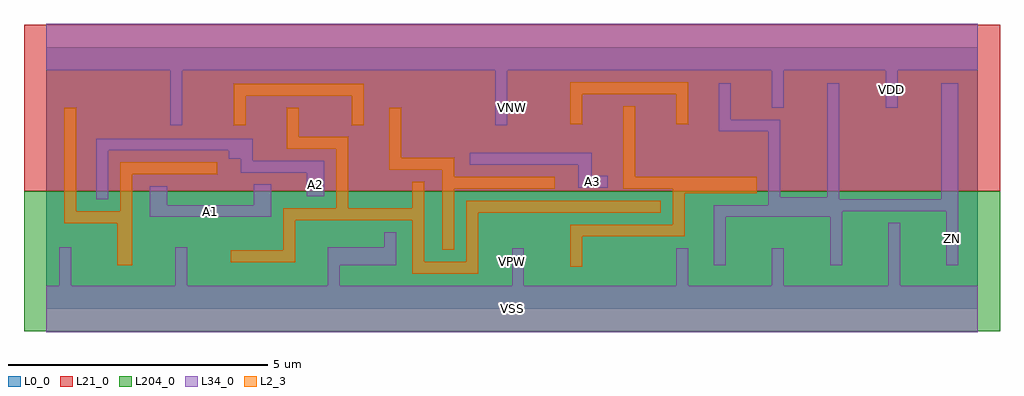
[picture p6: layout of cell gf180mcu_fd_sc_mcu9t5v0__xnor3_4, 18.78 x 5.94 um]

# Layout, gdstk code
import gdstk
lib = gdstk.Library(unit=1e-6, precision=1e-09)
def R(c, l, rs):  # rectangles x0, y0, x1, y1
    for r in rs: c.add(gdstk.rectangle(r[:2], r[2:], *l))
L0_0 = (0, 0)
L2_3 = (2, 3)
L21_0 = (21, 0)
L34_0 = (34, 0)
L204_0 = (204, 0)

gf180mcu_fd_sc_mcu9t5v0_ = lib.new_cell('gf180mcu_fd_sc_mcu9t5v0__xnor3_4')
R(gf180mcu_fd_sc_mcu9t5v0_, L0_0, [(0,0,17.92,5.04)])
R(gf180mcu_fd_sc_mcu9t5v0_, L2_3, [(7.04,0.68,8.31,0.91), (10.08,0.815,10.31,1.395), (1.365,0.845,1.65,1.65), (3.55,0.9,4.79,1.13), (7.04,0.91,7.27,1.71), (8.08,0.91,8.31,1.855), (4.56,1.13,4.79,1.705), (7.62,1.14,7.85,2.315), (10.08,1.395,12.285,1.625), (12.055,1.625,12.285,2.23), (0.345,1.65,1.65,1.88), (4.56,1.705,5.63,1.71), (4.56,1.71,7.27,1.935), (8.08,1.855,11.825,2.085), (0.345,1.88,0.575,3.875), (1.42,1.88,1.65,2.59), (5.58,1.935,7.27,1.94), (5.58,1.94,5.81,3.085), (7.04,1.94,7.27,2.45), (12.055,2.23,13.665,2.315), (7.62,2.315,9.785,2.545), (11.1,2.315,13.665,2.545), (7.62,2.545,7.85,2.68), (11.1,2.545,11.33,3.9), (1.42,2.59,3.29,2.82), (6.6,2.68,7.85,2.91), (6.6,2.91,6.83,3.875), (4.625,3.085,5.81,3.315), (4.625,3.315,4.855,3.875), (3.605,3.535,3.835,4.105), (5.88,3.535,6.11,4.105), (10.08,3.55,10.31,4.13), (12.12,3.55,12.35,4.13), (3.605,4.105,6.11,4.335), (10.08,4.13,12.35,4.36)])
R(gf180mcu_fd_sc_mcu9t5v0_, L21_0, [(-0.43,2.265,18.35,5.47)])
R(gf180mcu_fd_sc_mcu9t5v0_, L34_0, [(0,-0.45,17.92,0.45), (0.245,0.45,0.475,1.185), (2.485,0.45,2.715,1.185), (5.415,0.45,5.645,0.845), (8.96,0.45,9.19,1.165), (12.12,0.45,12.35,1.165), (13.96,0.45,14.19,1.165), (16.2,0.45,16.43,1.655), (5.415,0.845,6.73,1.185), (12.84,0.845,13.07,1.77), (15.08,0.845,15.31,1.77), (17.32,0.845,17.55,1.885), (6.5,1.185,6.73,1.48), (1.99,1.77,4.33,2), (12.84,1.77,15.31,1.885), (12.84,1.885,17.55,2), (1.99,2,2.33,2.36), (3.99,2,4.33,2.395), (13.895,2,17.55,2.115), (0.96,2.11,1.19,3.05), (13.895,2.115,15.26,2.15), (17.22,2.115,17.55,4.345), (13.895,2.15,14.125,3.415), (15.03,2.15,15.26,4.345), (5.01,2.165,5.35,2.625), (10.23,2.33,10.805,2.56), (10.23,2.56,10.49,2.775), (3.74,2.625,5.35,2.855), (8.145,2.775,10.49,3.005), (3.74,2.855,3.97,2.89), (3.51,2.89,3.97,3.05), (0.96,3.05,3.97,3.28), (12.94,3.415,14.125,3.645), (2.385,3.535,2.615,4.59), (8.64,3.535,8.87,4.59), (12.94,3.645,13.17,4.345), (13.96,3.875,14.19,4.59), (16.15,3.875,16.38,4.59), (0,4.59,17.92,5.49)])
R(gf180mcu_fd_sc_mcu9t5v0_, L204_0, [(-0.43,-0.43,18.35,2.265)])
gf180mcu_fd_sc_mcu9t5v0_.add(gdstk.Label('A1', (3.16,1.885), layer=34, texttype=10))
gf180mcu_fd_sc_mcu9t5v0_.add(gdstk.Label('A2', (5.18,2.395), layer=34, texttype=10))
gf180mcu_fd_sc_mcu9t5v0_.add(gdstk.Label('A3', (10.517,2.445), layer=34, texttype=10))
gf180mcu_fd_sc_mcu9t5v0_.add(gdstk.Label('ZN', (17.435,1.365), layer=34, texttype=10))
gf180mcu_fd_sc_mcu9t5v0_.add(gdstk.Label('VDD', (16.265,4.232), layer=34, texttype=10))
gf180mcu_fd_sc_mcu9t5v0_.add(gdstk.Label('VSS', (8.96,0), layer=34, texttype=10))
gf180mcu_fd_sc_mcu9t5v0_.add(gdstk.Label('VNW', (8.96,3.867), layer=3, texttype=1))
gf180mcu_fd_sc_mcu9t5v0_.add(gdstk.Label('VPW', (8.96,0.917), layer=4, texttype=1))

lib.write_gds('gf180mcu_fd_sc_mcu9t5v0__xnor3_4.gds')
